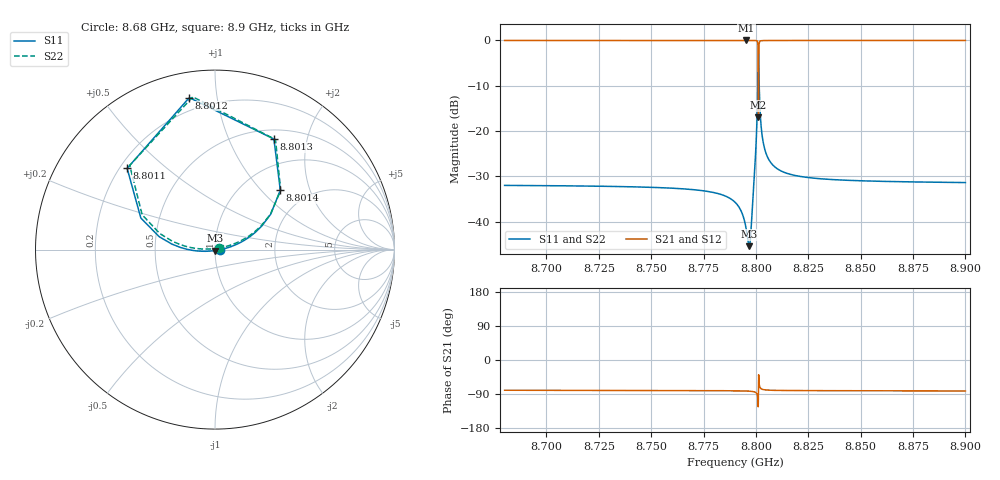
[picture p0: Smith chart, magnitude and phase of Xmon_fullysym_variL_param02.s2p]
! Sonnet Data File
! From: emgraph Version : 16.52
! From Project: 171117_Xmon_fullysym
! Data is De-embedded
! Data File Written: 11/26/2017 17:14:22
!< HDATE 11/22/2017 16:48:52
!< MDATE 11/23/2017 10:16:42
!< PARAMS
!< Lj = 11.0
!< Gap = 1.0
!< Pwid = 2000.0
!< Airgap = 6.0
!< Width = 10.0
!< Lj1 = 10.05
!< END PARAMS
# GHZ S MA R 50.90000
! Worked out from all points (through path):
!   2201 points, 8.68 GHz to 8.9 GHz, reference 50.9 ohm
!   highest |S21| = 0.00 dB at 8.7954 GHz (marker M1); lowest = -17.0 dB at 8.8012 GHz (marker M2)
!   lowest |S11| = -45.4 dB at 8.7968 GHz (marker M3), VSWR 1.01, Z = 51 - j0.544 ohm
!   |S11| at or under -10 dB: start of sweep to 8.8009 GHz; 8.8016 GHz to end of sweep
!   |S22| runs from -45.0 to -1.3 dB; largest |S21 - S12| = 1.9e-10
!   S11 on the Smith chart (normalised r, x): 8.68 GHz: 1.05, -0.00; 8.8011 GHz: 0.23, +0.37; 8.8012 GHz: 0.13, +0.84; 8.8013 GHz: 0.62, +1.48; 8.8014 GHz: 1.47, +1.29; 8.9 GHz: 1.06, -0.00
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8.68  0.02523 -1.4  0.9997 -79.8  0.9997 -79.8  0.02523 21.9
!< P1 F=8.68 Eeff=(6.44843488 -2.9797e-5) Z0=(50.9086135 1.17022e-4) R=0.0 C=0.0
!< P2 F=8.68 Eeff=(6.44843488 -2.9797e-5) Z0=(50.9086135 1.17022e-4) R=0.0 C=0.0
8.7167  0.02485 -2.1  0.9997 -80.1  0.9997 -80.1  0.02485 21.8
8.7534  0.02386 -3.1  0.9997 -80.5  0.9997 -80.5  0.02387 22.0
8.7788  0.02127 -5.2  0.9998 -80.9  0.9998 -80.9  0.02128 23.4
8.79  0.01647 -10.1  0.9998 -81.3  0.9998 -81.3  0.01648 27.6
8.7933  0.01258 -16.7  0.9999 -81.6  0.9999 -81.6  0.01261 33.8
8.7954  0.008224 -32.6  0.9999 -81.9  0.9999 -81.9  0.008309 49.5
8.7968  0.005392 -81.6  0.9999 -82.3  0.9999 -82.3  0.005611 97.1
8.7983  0.01422 -150.7  0.9996 -83.0  0.9996 -83.0  0.01441 162.8
8.7995  0.04077 -167.2  0.9984 -84.6  0.9984 -84.6  0.04096 176.0
8.8001  0.07625 -173.2  0.9954 -86.7  0.9954 -86.7  0.0765 177.3
8.8011  0.6667 137.2  0.6343 -123.3  0.6343 -123.3  0.668 135.3
8.8012  0.8586 99.6  0.142 -89.9  0.142 -89.9  0.8602 98.3
8.8013  0.698 62.0  0.5996 -38.9  0.5996 -38.9  0.6992 61.2
8.8014  0.4918 42.3  0.8279 -53.0  0.8279 -53.0  0.4926 42.0
8.8019  0.1831 18.5  0.9789 -71.8  0.9789 -71.8  0.1833 20.6
8.8024  0.1187 13.2  0.9915 -75.5  0.9915 -75.5  0.1188 17.2
8.8036  0.07252 8.4  0.997 -78.2  0.997 -78.2  0.07258 15.8
8.8068  0.04597 4.1  0.9989 -79.7  0.9989 -79.7  0.04598 16.6
8.8267  0.03046 -0.6  0.9995 -80.8  0.9995 -80.8  0.03046 19.0
8.8634  0.02786 -2.2  0.9996 -81.3  0.9996 -81.3  0.02786 19.5
8.9  0.02711 -3.0  0.9996 -81.7  0.9996 -81.7  0.02711 19.6
